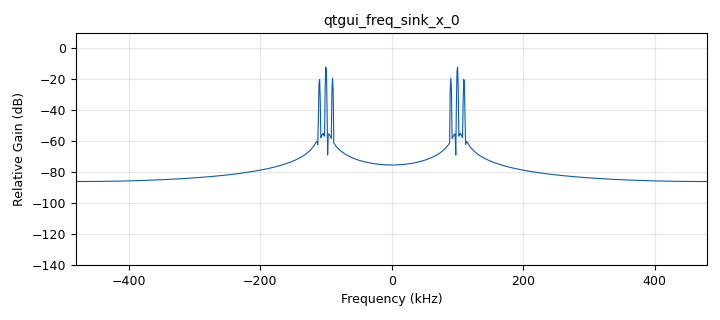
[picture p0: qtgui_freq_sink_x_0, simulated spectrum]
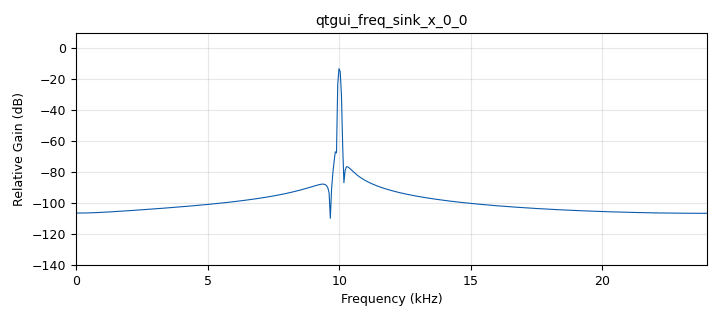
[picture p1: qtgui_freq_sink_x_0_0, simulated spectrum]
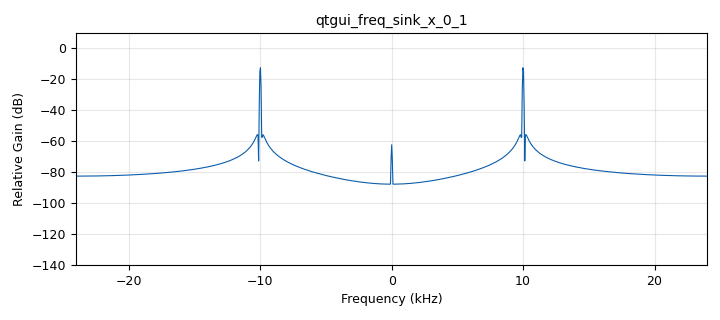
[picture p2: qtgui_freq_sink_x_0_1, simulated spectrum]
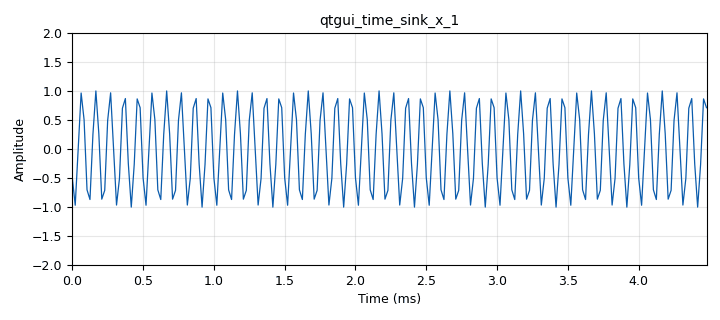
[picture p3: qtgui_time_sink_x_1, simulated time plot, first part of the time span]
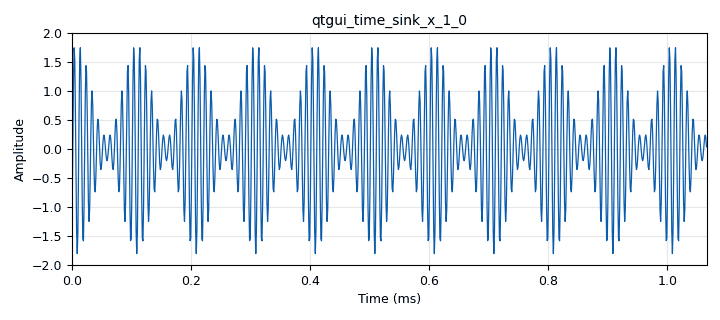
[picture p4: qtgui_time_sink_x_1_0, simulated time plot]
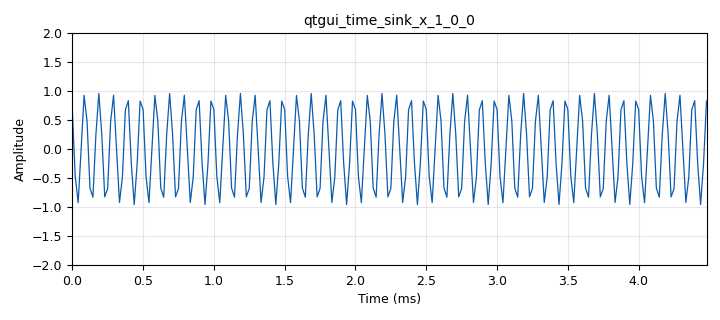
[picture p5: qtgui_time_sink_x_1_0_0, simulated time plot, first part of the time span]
options:
  parameters:
    author: prakhar
    generate_options: qt_gui
    id: task_1
    output_language: python
    title: top_block
  states: {}

blocks:
- name: modulation_index
  id: variable
  parameters:
    value: '0.8'
  states: {}
- name: samp_rate_mod
  id: variable
  parameters:
    value: '960000'
  states: {}
- name: samp_rate_unmod
  id: variable
  parameters:
    value: '48000'
  states: {}
- name: analog_const_source_x_0
  id: analog_const_source_x
  parameters:
    const: modulation_index
    type: float
  states: {}
- name: analog_sig_source_x_0
  id: analog_sig_source_x
  parameters:
    amp: '1'
    freq: '10000'
    offset: '0'
    phase: '0'
    samp_rate: samp_rate_unmod
    type: float
    waveform: analog.GR_COS_WAVE
  states: {}
- name: analog_sig_source_x_0_1
  id: analog_sig_source_x
  parameters:
    amp: '1'
    freq: '100000'
    offset: '0'
    phase: '0'
    samp_rate: samp_rate_mod
    type: float
    waveform: analog.GR_COS_WAVE
  states: {}
- name: blocks_abs_xx_0
  id: blocks_abs_xx
  parameters:
    type: float
  states: {}
- name: blocks_add_xx_0
  id: blocks_add_xx
  parameters:
    type: float
  states: {}
- name: blocks_multiply_xx_0
  id: blocks_multiply_xx
  parameters:
    type: float
  states: {}
- name: blocks_multiply_xx_0_0
  id: blocks_multiply_xx
  parameters:
    type: float
  states: {}
- name: blocks_throttle_0_1
  id: blocks_throttle
  parameters:
    samples_per_second: samp_rate_unmod
    type: float
  states: {}
- name: dc_blocker_xx_0
  id: dc_blocker_xx
  parameters:
    length: '32'
    long_form: 'True'
    type: ff
  states: {}
- name: low_pass_filter_0
  id: low_pass_filter
  parameters:
    cutoff_freq: '15000'
    decim: '20'
    gain: (1/modulation_index)*1.5
    samp_rate: samp_rate_mod
    type: fir_filter_fff
    width: '10'
    win: firdes.WIN_HAMMING
  states: {}
- name: qtgui_freq_sink_x_0
  id: qtgui_freq_sink_x
  parameters:
    bw: samp_rate_mod
    fc: '0'
    fftsize: '1024'
    gui_hint: tab@0
    type: float
    wintype: firdes.WIN_HAMMING
  states: {}
- name: qtgui_freq_sink_x_0_0
  id: qtgui_freq_sink_x
  parameters:
    average: '0.05'
    bw: samp_rate_unmod
    fc: '0'
    fftsize: '1024'
    freqhalf: 'False'
    gui_hint: tab@1
    type: float
    wintype: firdes.WIN_KAISER
  states: {}
- name: qtgui_freq_sink_x_0_1
  id: qtgui_freq_sink_x
  parameters:
    bw: samp_rate_unmod
    fc: '0'
    fftsize: '1024'
    gui_hint: tab@2
    type: float
    wintype: firdes.WIN_HAMMING
  states: {}
- name: qtgui_time_sink_x_1
  id: qtgui_time_sink_x
  parameters:
    gui_hint: tab@1
    size: '1024'
    srate: samp_rate_unmod
    type: float
    ymax: '2'
    ymin: '-2'
  states: {}
- name: qtgui_time_sink_x_1_0
  id: qtgui_time_sink_x
  parameters:
    entags: 'False'
    gui_hint: tab@0
    size: '1024'
    srate: samp_rate_mod
    type: float
    ymax: '2'
    ymin: '-2'
  states: {}
- name: qtgui_time_sink_x_1_0_0
  id: qtgui_time_sink_x
  parameters:
    entags: 'False'
    gui_hint: tab@2
    size: '1024'
    srate: samp_rate_unmod
    type: float
    ymax: '2'
    ymin: '-2'
  states: {}
- name: rational_resampler_xxx_0
  id: rational_resampler_xxx
  parameters:
    decim: samp_rate_unmod
    interp: samp_rate_mod
    taps: ''
    type: fff
  states: {}
- name: tab
  id: qtgui_tab_widget
  parameters:
    label0: Modulated
    label1: Message
    label2: Demodulated
    num_tabs: '3'
  states: {}

connections:
- [analog_const_source_x_0, '0', blocks_multiply_xx_0, '0']
- [analog_sig_source_x_0, '0', blocks_throttle_0_1, '0']
- [analog_sig_source_x_0, '0', rational_resampler_xxx_0, '0']
- [analog_sig_source_x_0_1, '0', blocks_add_xx_0, '1']
- [analog_sig_source_x_0_1, '0', blocks_multiply_xx_0_0, '1']
- [blocks_abs_xx_0, '0', low_pass_filter_0, '0']
- [blocks_add_xx_0, '0', blocks_abs_xx_0, '0']
- [blocks_add_xx_0, '0', qtgui_freq_sink_x_0, '0']
- [blocks_add_xx_0, '0', qtgui_time_sink_x_1_0, '0']
- [blocks_multiply_xx_0, '0', blocks_multiply_xx_0_0, '0']
- [blocks_multiply_xx_0_0, '0', blocks_add_xx_0, '0']
- [blocks_throttle_0_1, '0', qtgui_freq_sink_x_0_0, '0']
- [blocks_throttle_0_1, '0', qtgui_time_sink_x_1, '0']
- [dc_blocker_xx_0, '0', qtgui_freq_sink_x_0_1, '0']
- [dc_blocker_xx_0, '0', qtgui_time_sink_x_1_0_0, '0']
- [low_pass_filter_0, '0', dc_blocker_xx_0, '0']
- [rational_resampler_xxx_0, '0', blocks_multiply_xx_0, '1']

metadata:
  file_format: 1
